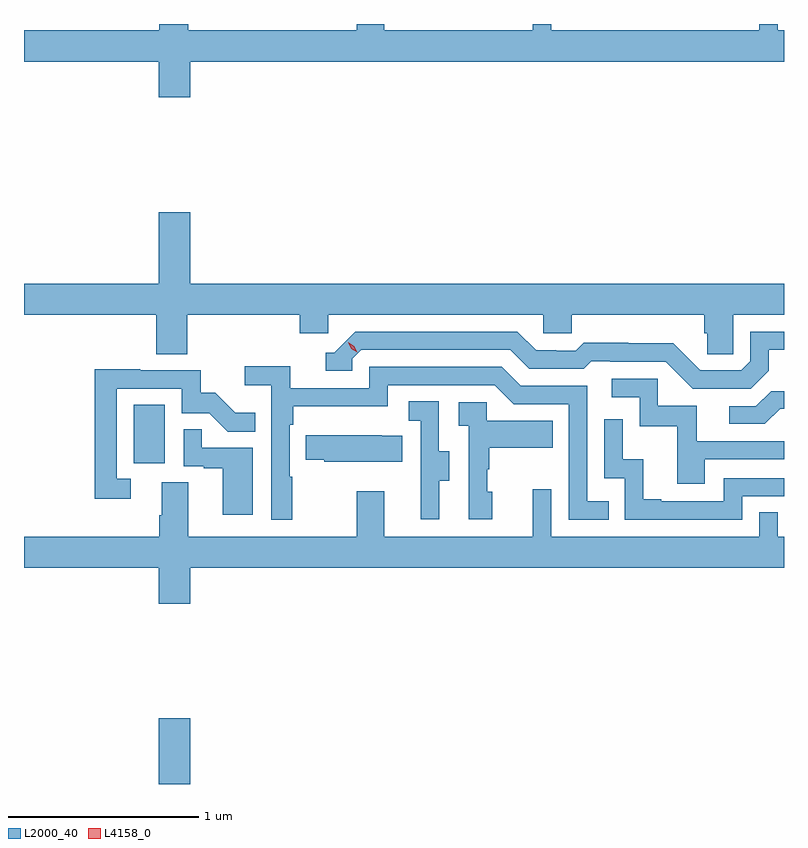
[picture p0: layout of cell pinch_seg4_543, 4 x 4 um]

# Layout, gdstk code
import gdstk
lib = gdstk.Library(unit=1e-6, precision=1e-09)
def R(c, l, rs):  # rectangles x0, y0, x1, y1
    for r in rs: c.add(gdstk.rectangle(r[:2], r[2:], *l))
def P(c, l, *ps):  # polygons
    for p in ps: c.add(gdstk.Polygon(p, *l))
L2000_40 = (2000, 40)
L4158_0 = (4158, 0)

pinch_seg4_543 = lib.new_cell('pinch_seg4_543')
R(pinch_seg4_543, L2000_40, [(1142.03,775.702,1142.194,776.047), (1141.898,777.39,1142.062,777.697)])
P(pinch_seg4_543, L2000_40, [(1142.194,779.504),(1145.32,779.504),(1145.32,779.668),(1145.286,779.668),(1145.286,779.702),(1145.19,779.702),(1145.19,779.668),(1144.095,779.668),(1144.095,779.702),(1143.998,779.702),(1143.998,779.668),(1143.217,779.668),(1143.217,779.702),(1143.07,779.702),(1143.07,779.668),(1142.185,779.668),(1142.185,779.702),(1142.033,779.702),(1142.033,779.668),(1141.32,779.668),(1141.32,779.504),(1142.03,779.504),(1142.03,779.316),(1142.194,779.316)],
  [(1142.18,778.172),(1142.771,778.172),(1142.771,778.074),(1142.922,778.074),(1142.922,778.172),(1144.053,778.172),(1144.053,778.074),(1144.203,778.074),(1144.203,778.172),(1144.901,778.172),(1144.901,778.074),(1144.915,778.074),(1144.915,777.964),(1145.052,777.964),(1145.052,778.172),(1145.32,778.172),(1145.32,778.336),(1142.194,778.336),(1142.194,778.711),(1142.03,778.711),(1142.03,778.336),(1141.32,778.336),(1141.32,778.172),(1142.015,778.172),(1142.015,777.964),(1142.18,777.964)],
  [(1145.239,777.877),(1145.239,777.987),(1145.32,777.987),(1145.32,778.083),(1145.142,778.083),(1145.142,777.927),(1145.094,777.879),(1144.878,777.879),(1144.736,778.021),(1144.5,778.021),(1144.5,778.024),(1144.267,778.024),(1144.225,777.981),(1144.122,777.981),(1144.122,777.984),(1144.015,777.984),(1143.916,778.083),(1143.063,778.083),(1142.952,777.972),(1142.909,777.972),(1142.909,777.876),(1143.048,777.876),(1143.048,777.939),(1143.096,777.987),(1143.879,777.987),(1143.978,777.888),(1144.267,777.888),(1144.306,777.927),(1144.405,777.927),(1144.405,777.924),(1144.698,777.924),(1144.839,777.783),(1145.145,777.783)],
  [(1142.731,777.32),(1142.718,777.32),(1142.718,777.593),(1142.738,777.593),(1142.738,777.689),(1143.234,777.689),(1143.234,777.801),(1143.798,777.801),(1143.897,777.702),(1144.188,777.702),(1144.188,777.093),(1144.397,777.093),(1144.397,777.189),(1144.284,777.189),(1144.284,777.798),(1143.934,777.798),(1143.835,777.897),(1143.138,777.897),(1143.138,777.786),(1142.72,777.786),(1142.72,777.902),(1142.481,777.902),(1142.481,777.8),(1142.622,777.8),(1142.622,777.093),(1142.731,777.093)],
  [(1141.882,777.309),(1141.809,777.309),(1141.809,777.783),(1142.151,777.783),(1142.151,777.654),(1142.295,777.654),(1142.393,777.556),(1142.537,777.556),(1142.537,777.655),(1142.433,777.655),(1142.326,777.762),(1142.25,777.762),(1142.25,777.879),(1141.931,777.879),(1141.931,777.884),(1141.693,777.884),(1141.693,777.204),(1141.882,777.204)],
  [(1144.903,777.411),(1145.32,777.411),(1145.32,777.507),(1144.861,777.507),(1144.861,777.693),(1144.656,777.693),(1144.656,777.834),(1144.413,777.834),(1144.413,777.738),(1144.56,777.738),(1144.56,777.585),(1144.759,777.585),(1144.759,777.282),(1144.903,777.282)],
  [(1145.299,777.678),(1145.32,777.678),(1145.32,777.77),(1145.252,777.77),(1145.172,777.69),(1145.031,777.69),(1145.031,777.597),(1145.218,777.597)],
  [(1143.505,777.298),(1143.559,777.298),(1143.559,777.453),(1143.504,777.453),(1143.504,777.716),(1143.345,777.716),(1143.345,777.613),(1143.408,777.613),(1143.408,777.309),(1143.407,777.309),(1143.407,777.096),(1143.505,777.096)],
  [(1143.784,777.24),(1143.759,777.24),(1143.759,777.359),(1143.769,777.359),(1143.769,777.473),(1144.103,777.473),(1144.103,777.613),(1143.756,777.613),(1143.756,777.711),(1143.609,777.711),(1143.609,777.587),(1143.66,777.587),(1143.66,777.096),(1143.784,777.096)],
  [(1145.1,777.216),(1145.32,777.216),(1145.32,777.312),(1145.004,777.312),(1145.004,777.189),(1144.675,777.189),(1144.675,777.202),(1144.58,777.202),(1144.58,777.41),(1144.47,777.41),(1144.47,777.622),(1144.374,777.622),(1144.374,777.312),(1144.482,777.312),(1144.482,777.093),(1145.1,777.093)],
  [(1142.524,777.471),(1142.255,777.471),(1142.255,777.569),(1142.16,777.569),(1142.16,777.375),(1142.267,777.375),(1142.267,777.363),(1142.366,777.363),(1142.366,777.12),(1142.524,777.12)],
  [(1143.311,777.535),(1143.203,777.535),(1143.203,777.538),(1142.803,777.538),(1142.803,777.409),(1142.901,777.409),(1142.901,777.398),(1143.311,777.398)],
  [(1142.194,776.84),(1145.32,776.84),(1145.32,777.004),(1145.286,777.004),(1145.286,777.131),(1145.19,777.131),(1145.19,777.004),(1144.095,777.004),(1144.095,777.253),(1143.998,777.253),(1143.998,777.004),(1143.217,777.004),(1143.217,777.244),(1143.07,777.244),(1143.07,777.004),(1142.185,777.004),(1142.185,777.29),(1142.045,777.29),(1142.045,777.116),(1142.033,777.116),(1142.033,777.004),(1141.32,777.004),(1141.32,776.84),(1142.03,776.84),(1142.03,776.652),(1142.194,776.652)])
P(pinch_seg4_543, L4158_0, [(1143.073,777.974),(1143.042,777.994),(1143.027,778.027),(1143.027,778.027),(1143.027,778.027),(1143.058,778.007),(1143.073,777.974),(1143.073,777.974)])

lib.write_gds('pinch_seg4_543.gds')
